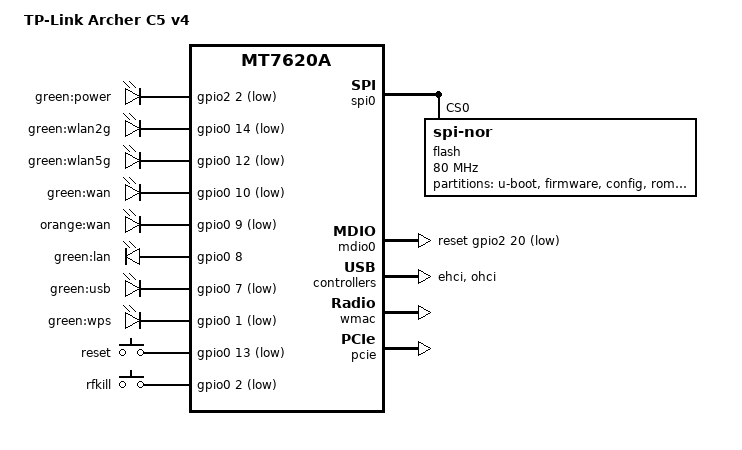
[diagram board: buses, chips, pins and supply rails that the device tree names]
// SPDX-License-Identifier: GPL-2.0-or-later OR MIT

#include "mt7620a.dtsi"

#include <dt-bindings/input/input.h>
#include <dt-bindings/gpio/gpio.h>

/ {
	compatible = "tplink,archer-c5-v4", "ralink,mt7620a-soc";
	model = "TP-Link Archer C5 v4";

	aliases {
		led-boot = &led_power;
		led-failsafe = &led_power;
		led-running = &led_power;
		led-upgrade = &led_power;
		label-mac-device = &ethernet;
	};

	chosen {
		bootargs = "console=ttyS0,115200";
	};

	leds {
		compatible = "gpio-leds";

		led_power: power {
			label = "green:power";
			gpios = <&gpio2 2 GPIO_ACTIVE_LOW>;
		};

		wlan2g {
			label = "green:wlan2g";
			gpios = <&gpio0 14 GPIO_ACTIVE_LOW>;
		};

		wlan5g {
			label = "green:wlan5g";
			gpios = <&gpio0 12 GPIO_ACTIVE_LOW>;
			linux,default-trigger = "phy0tpt";
		};

		wan {
			label = "green:wan";
			gpios = <&gpio0 10 GPIO_ACTIVE_LOW>;
		};

		wan_orange {
			label = "orange:wan";
			gpios = <&gpio0 9 GPIO_ACTIVE_LOW>;
		};

		lan {
			label = "green:lan";
			gpios = <&gpio0 8 GPIO_ACTIVE_HIGH>;
		};

		usb {
			label = "green:usb";
			gpios = <&gpio0 7 GPIO_ACTIVE_LOW>;
			trigger-sources = <&ohci_port1>, <&ehci_port1>;
			linux,default-trigger = "usbport";
		};

		wps {
			label = "green:wps";
			gpios = <&gpio0 1 GPIO_ACTIVE_LOW>;
		};
	};

	keys {
		compatible = "gpio-keys";

		reset {
			label = "reset";
			gpios = <&gpio0 13 GPIO_ACTIVE_LOW>;
			linux,code = <KEY_RESTART>;
		};

		rfkill {
			label = "rfkill";
			gpios = <&gpio0 2 GPIO_ACTIVE_LOW>;
			linux,code = <KEY_RFKILL>;
		};
	};

	rtl8367s {
		compatible = "realtek,rtl8367b";
		cpu_port = <7>;
		realtek,extif2 = <1 0 1 1 1 1 1 1 2>;
		mii-bus = <&mdio0>;
		phy_id = <29>;
	};
};

&gpio2 {
	status = "okay";
};

&spi0 {
	status = "okay";

	flash@0 {
		compatible = "jedec,spi-nor";
		reg = <0>;
		spi-max-frequency = <80000000>;

		partitions {
			compatible = "fixed-partitions";
			#address-cells = <1>;
			#size-cells = <1>;

			partition@0 {
				label = "u-boot";
				reg = <0x0 0x20000>;
				read-only;
			};

			partition@20000 {
				compatible = "tplink,firmware";
				label = "firmware";
				reg = <0x20000 0x7a0000>;
			};

			partition@7c0000 {
				label = "config";
				reg = <0x7c0000 0x10000>;
				read-only;
			};

			rom: partition@7d0000 {
				label = "rom";
				reg = <0x7d0000 0x10000>;
				read-only;
			};

			partition@7e0000 {
				label = "romfile";
				reg = <0x7e0000 0x10000>;
				read-only;
			};

			radio: partition@7f0000 {
				label = "radio";
				reg = <0x7f0000 0x10000>;
				read-only;
			};
		};
	};
};

&pinctrl {
	state_default: pinctrl0 {
		gpio {
			ralink,group = "i2c", "uartf", "ephy", "rgmii2";
			ralink,function = "gpio";
		};
	};
};

&ethernet {
	pinctrl-names = "default";
	mtd-mac-address = <&rom 0xf100>;
	pinctrl-0 = <&rgmii1_pins &mdio_pins>;

	port@5 {
		status = "okay";
		mediatek,fixed-link = <1000 1 1 1>;
		phy-mode = "rgmii";
	};

	mdio0: mdio-bus {
		status = "okay";
		reset-gpios = <&gpio2 20 GPIO_ACTIVE_LOW>;
		reset-delay-us = <10000>;
	};
};

&ehci {
	status = "okay";
};

&ohci {
	status = "okay";
};

&wmac {
	ralink,mtd-eeprom = <&radio 0>;
	mtd-mac-address = <&rom 0xf100>;
};

&pcie {
	status = "okay";
};

&pcie0 {
	wifi@0,0 {
		reg = <0x0000 0 0 0 0>;
		mediatek,mtd-eeprom = <&radio 0x8000>;
		ieee80211-freq-limit = <5000000 6000000>;
		mtd-mac-address = <&rom 0xf100>;
		mtd-mac-address-increment = <2>;
	};
};
